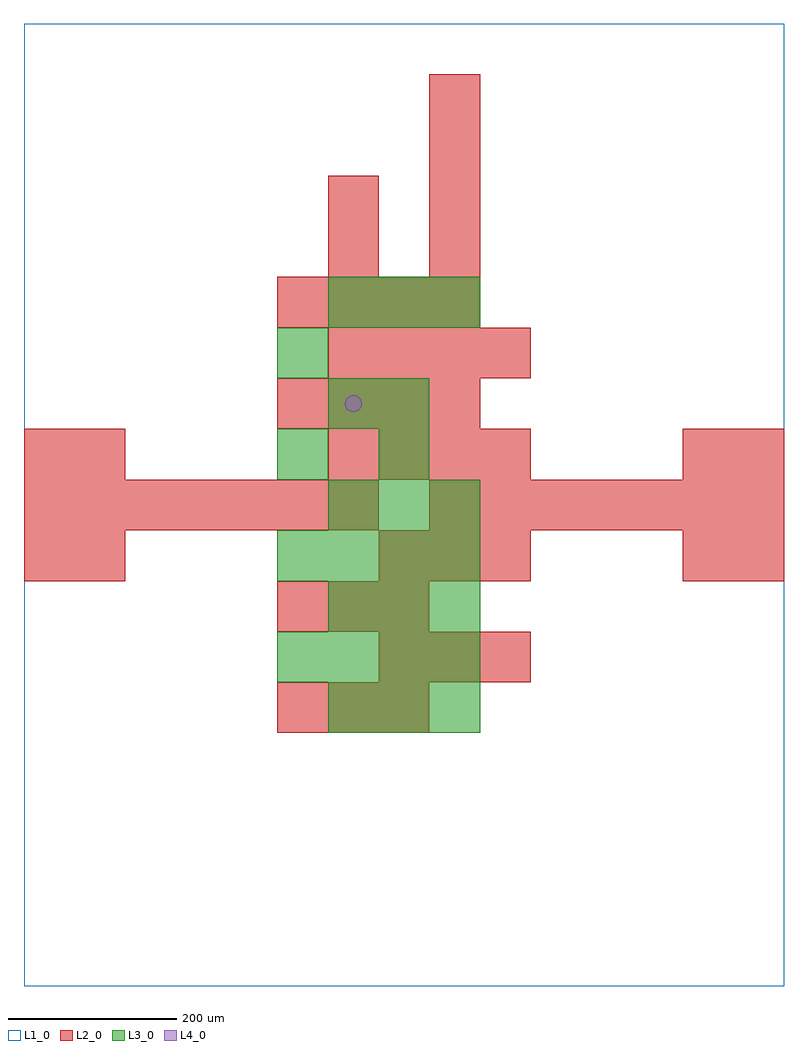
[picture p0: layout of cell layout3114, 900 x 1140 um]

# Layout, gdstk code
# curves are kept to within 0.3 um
import gdstk
lib = gdstk.Library(unit=1e-6, precision=1e-09)
def R(c, l, rs):  # rectangles x0, y0, x1, y1
    for r in rs: c.add(gdstk.rectangle(r[:2], r[2:], *l))
def A(c, l, x, y, w, h, nx, ny, dx, dy):  # array of equal rectangles
    R(c, l, [(x+i*dx, y+j*dy, x+i*dx+w, y+j*dy+h) for i in range(nx) for j in range(ny)])
def P(c, l, *ps):  # polygons
    for p in ps: c.add(gdstk.Polygon(p, *l))
L1_0 = (1, 0)
L2_0 = (2, 0)
L3_0 = (3, 0)
L4_0 = (4, 0)

layout3114 = lib.new_cell('layout3114')
R(layout3114, L1_0, [(0,0,900,1140)])
A(layout3114, L2_0, 300, 300, 60, 60, 3, 2, 60, 120)
A(layout3114, L2_0, 420, 360, 60, 60, 3, 2, 60, 120)
A(layout3114, L2_0, 0, 540, 60, 60, 7, 1, 60, 0)
A(layout3114, L2_0, 480, 540, 60, 60, 7, 1, 60, 0)
A(layout3114, L2_0, 360, 600, 60, 60, 4, 2, 60, 120)
A(layout3114, L2_0, 300, 660, 60, 60, 4, 2, 60, 120)
A(layout3114, L2_0, 480, 840, 60, 60, 1, 4, 0, 60)
R(layout3114, L2_0, [(0,480,60,540), (60,480,120,540), (780,480,840,540), (840,480,900,540), (0,600,60,660), (60,600,120,660), (780,600,840,660), (840,600,900,660), (360,840,420,900), (360,900,420,960)])
A(layout3114, L3_0, 360, 300, 60, 60, 3, 3, 60, 120)
A(layout3114, L3_0, 300, 360, 60, 60, 4, 2, 60, 120)
A(layout3114, L3_0, 360, 780, 60, 60, 3, 1, 60, 0)
R(layout3114, L3_0, [(300,600,360,660), (420,600,480,660), (360,660,420,720), (420,660,480,720), (300,720,360,780)])
P(layout3114, L4_0, [(400,690),(399.239,693.827),(397.071,697.071),(393.827,699.239),(390,700),(386.173,699.239),(382.929,697.071),(380.761,693.827),(380,690),(380.761,686.173),(382.929,682.929),(386.173,680.761),(390,680),(393.827,680.761),(397.071,682.929),(399.239,686.173)])

lib.write_gds('layout3114.gds')
